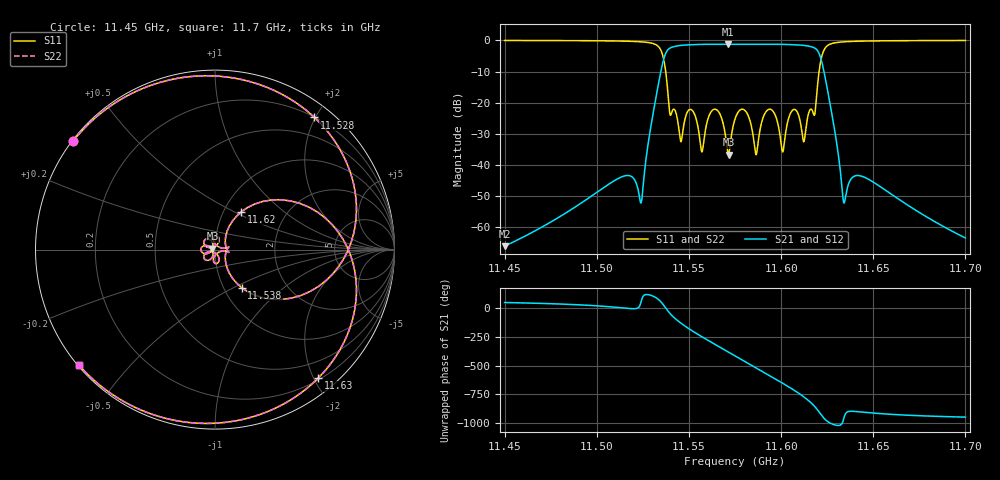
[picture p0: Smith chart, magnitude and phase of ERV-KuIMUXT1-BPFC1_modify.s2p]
! Created with skrf (http://scikit-rf.org).
! Parameters = {f0=11579; bw=70; Q=6100; N=8; m_0_1=1.0091038942337036; m_1_1=9.999999974752427e-07; m_1_2=0.8364487886428833; m_2_2=9.999999974752427e-07; m_2_3=0.5936797261238098; m_2_6=9.999999974752427e-07; m_2_7=-0.03626285120844841; m_3_3=9.999999974752427e-07; m_3_4=0.5529617667198181; m_3_5=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
# MHz S RI R 50.0
!freq ReS11 ImS11 ReS21 ImS21 ReS12 ImS12 ReS22 ImS22
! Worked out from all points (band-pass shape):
!   1001 points, 11.45 GHz to 11.7 GHz, reference 50 ohm
!   highest |S21| = -1.25 dB at 11.571 GHz (marker M1); lowest = -66.0 dB at 11.45 GHz (marker M2)
!   |S21| within 3 dB of the highest: 11.537 GHz to 11.621 GHz (83.28 MHz wide, 0.719 % of centre)
!   lowest |S11| = -36.7 dB at 11.572 GHz (marker M3), VSWR 1.03, Z = 48.6 + j0.419 ohm
!   |S11| at or under -10 dB: 11.537 GHz to 11.621 GHz (83.23 MHz wide, 0.719 % of centre)
!   |S22| runs from -36.7 to 0.0 dB; largest |S21 - S12| = 0
!   S11 on the Smith chart (normalised r, x): 11.45 GHz: 0.00, +0.34; 11.528 GHz: 0.20, +1.99; 11.538 GHz: 1.21, -0.55; 11.62 GHz: 1.21, +0.55; 11.63 GHz: 0.23, -2.06; 11.7 GHz: 0.00, -0.37
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11450  -0.7918 0.6029  0.000315 0.00039  0.000315 0.00039  -0.7918 0.6029
11491.75  -0.5249 0.8369  0.00216 0.00123  0.00216 0.00123  -0.5249 0.8369
11523.75  0.3082 0.8962  0.00193 0.00162  0.00193 0.00162  0.3082 0.8962
11528  0.5541 0.7361  -0.0114 0.0204  -0.0114 0.0204  0.5541 0.7361
11533.5  0.7808 0.1304  0.0449 0.1977  0.0449 0.1977  0.7808 0.1304
11537.75  0.1486 -0.212  0.6456 -0.0533  0.6456 -0.0533  0.1486 -0.212
11543  0.0678 0.00954  -0.0707 -0.8037  -0.0707 -0.8037  0.0678 0.00954
11550.5  0.00494 0.0778  -0.847 0.0398  -0.847 0.0398  0.00494 0.0778
11557  -0.00574 0.0151  -0.336 0.7937  -0.336 0.7937  -0.00574 0.0151
11560  -0.0481 0.0167  0.0818 0.8595  0.0818 0.8595  -0.0481 0.0167
11571.25  -0.0128 0.00766  0.8179 -0.2853  0.8179 -0.2853  -0.0128 0.00766
11571.5  -0.014 0.00431  0.8058 -0.318  0.8058 -0.318  -0.014 0.00431
11575  -0.0495 -0.023  0.5103 -0.6984  0.5103 -0.6984  -0.0495 -0.023
11587.75  -0.0106 -0.0234  -0.856 -0.1323  -0.856 -0.1323  -0.0106 -0.0234
11598.5  -0.0407 -0.0132  0.00356 0.8633  0.00356 0.8633  -0.0407 -0.0132
11608  -7.46e-06 -0.0762  0.8451 -0.0475  0.8451 -0.0475  -7.46e-06 -0.0762
11616.75  0.0754 -0.0142  -0.2739 -0.7341  -0.2739 -0.7341  0.0754 -0.0142
11620.25  0.1474 0.2112  -0.6461 -0.0555  -0.6461 -0.0555  0.1474 0.2112
11629.75  0.5747 -0.7161  0.0128 0.0239  0.0128 0.0239  0.5747 -0.7161
11634.25  0.3148 -0.8933  -0.00169 0.0018  -0.00169 0.0018  0.3148 -0.8933
11658.5  -0.4125 -0.8937  -0.00336 0.00138  -0.00336 0.00138  -0.4125 -0.8937
11700  -0.7575 -0.6442  -0.000455 0.000503  -0.000455 0.000503  -0.7575 -0.6442
